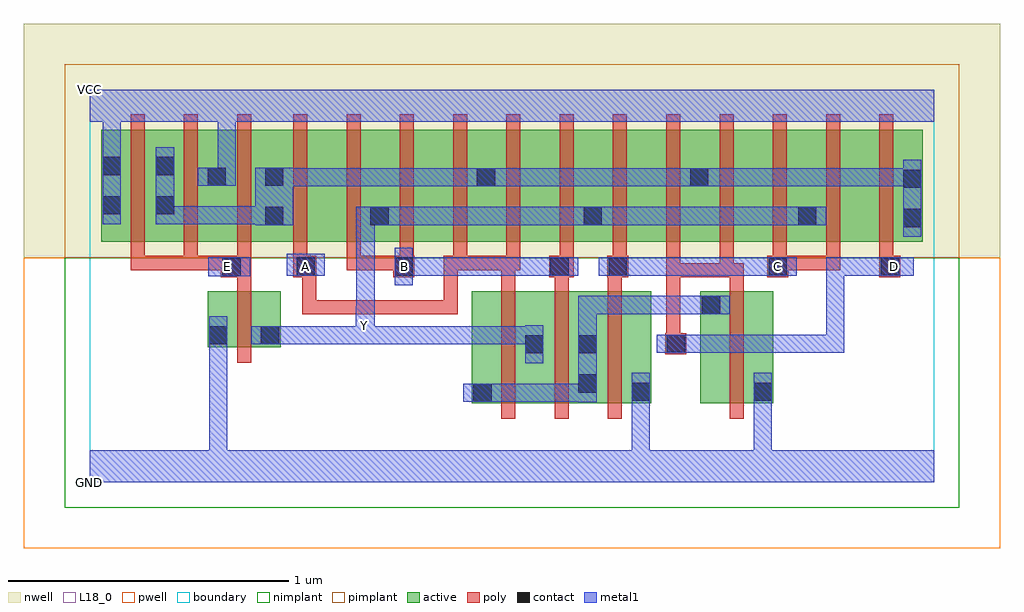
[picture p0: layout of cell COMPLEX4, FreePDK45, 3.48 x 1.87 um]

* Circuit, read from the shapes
.subckt COMPLEX4 A B C D E GND VCC Y
M1 Y E GND VSUBS nfet w=0.2u l=0.05u
M2 Y A n1 VSUBS nfet w=0.4u l=0.05u
M3 n1 B Y VSUBS nfet w=0.4u l=0.05u
M4 GND C n1 VSUBS nfet w=0.4u l=0.05u
M5 GND D n1 VSUBS nfet w=0.4u l=0.05u
M6 n2 E VCC n3 pfet w=0.4u l=0.05u m=3
M7 n4 A n2 n3 pfet w=0.4u l=0.05u
M8 Y B n4 n3 pfet w=0.4u l=0.05u
M9 n5 B Y n3 pfet w=0.4u l=0.05u
M10 n2 A n5 n3 pfet w=0.4u l=0.05u
M11 n6 A n2 n3 pfet w=0.4u l=0.05u
M12 Y B n6 n3 pfet w=0.4u l=0.05u
M13 n7 C Y n3 pfet w=0.4u l=0.05u
M14 n2 D n7 n3 pfet w=0.4u l=0.05u
M15 n8 D n2 n3 pfet w=0.4u l=0.05u
M16 Y C n8 n3 pfet w=0.4u l=0.05u
M17 n9 C Y n3 pfet w=0.4u l=0.05u
M18 n2 D n9 n3 pfet w=0.4u l=0.05u
.ends

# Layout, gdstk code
import gdstk
lib = gdstk.Library(unit=1e-6, precision=1e-09)
def R(c, l, rs):  # rectangles x0, y0, x1, y1
    for r in rs: c.add(gdstk.rectangle(r[:2], r[2:], *l))
def A(c, l, x, y, w, h, nx, ny, dx, dy):  # array of equal rectangles
    R(c, l, [(x+i*dx, y+j*dy, x+i*dx+w, y+j*dy+h) for i in range(nx) for j in range(ny)])
active = (1, 0)
pwell = (2, 0)
nwell = (3, 0)
nimplant = (4, 0)
pimplant = (5, 0)
poly = (9, 0)
contact = (10, 0)
metal1 = (11, 0)
L18_0 = (18, 0)
boundary = (235, 0)

complex4 = lib.new_cell('COMPLEX4')
A(complex4, active, 0.845, 0.857, 0.225, 0.4, 4, 1, 0.38, 0)
A(complex4, active, 0.995, 0.857, 0.23, 0.4, 4, 1, 0.38, 0)
A(complex4, active, 1.375, 0.857, 0.075, 0.343, 3, 1, 0.76, 0)
R(complex4, active, [(1.362,0.282,1.622,0.682), (1.362,0.282,1.437,0.497), (1.547,0.282,1.812,0.682), (1.737,0.282,2.002,0.682), (1.737,0.282,1.812,0.632), (1.927,0.282,2.002,0.492), (2.177,0.282,2.437,0.682), (2.362,0.282,2.437,0.492), (1.547,0.33,1.622,0.53), (2.177,0.33,2.252,0.682), (0.42,0.482,0.495,0.682), (0.42,0.482,0.68,0.682), (0.605,0.482,0.68,0.682), (0.04,0.857,0.305,1.257), (0.04,0.857,0.115,1.255), (0.23,0.857,0.49,1.257), (0.415,0.857,0.695,1.257), (0.415,0.857,0.49,1.255), (0.62,0.857,0.695,1.2), (0.62,0.857,0.845,1.257), (1.755,0.857,1.83,1.07), (2.365,0.857,2.595,1.257), (2.52,0.857,2.745,1.257), (2.52,0.857,2.595,1.07), (2.745,0.857,2.97,1.257), (0.23,0.907,0.305,1.2), (0.995,0.907,1.07,1.07)])
R(complex4, pwell, [(-0.235,-0.235,3.245,0.8)])
R(complex4, nwell, [(-0.235,0.8,3.245,1.635)])
R(complex4, nimplant, [(-0.09,-0.09,3.1,0.8)])
R(complex4, pimplant, [(-0.09,0.8,3.1,1.49)])
A(complex4, poly, 1.467, 0.227, 0.05, 0.51, 3, 1, 0.19, 0)
A(complex4, poly, 0.145, 0.757, 0.05, 0.095, 3, 1, 0.19, 0)
A(complex4, poly, 0.725, 0.757, 0.05, 0.095, 7, 1, 0.19, 0)
A(complex4, poly, 2.435, 0.757, 0.05, 0.095, 3, 1, 0.19, 0)
A(complex4, poly, 0.145, 0.802, 0.05, 0.51, 3, 1, 0.19, 0)
A(complex4, poly, 0.725, 0.802, 0.05, 0.51, 12, 1, 0.19, 0)
R(complex4, poly, [(2.282,0.227,2.332,0.737), (0.525,0.427,0.575,0.737), (2.052,0.457,2.127,0.532), (2.055,0.482,2.105,0.782), (0.757,0.6,0.807,0.65), (0.757,0.6,0.807,0.65), (0.757,0.6,0.807,0.65), (0.757,0.6,0.807,0.65), (0.757,0.6,0.807,0.65), (0.757,0.6,0.965,0.65), (0.757,0.6,0.807,0.782), (0.915,0.6,0.965,0.65), (0.915,0.6,0.965,0.65), (0.915,0.6,0.965,0.65), (0.915,0.6,1.097,0.65), (1.047,0.6,1.097,0.65), (1.047,0.6,1.097,0.65), (1.047,0.6,1.097,0.65), (1.047,0.6,1.312,0.65), (1.262,0.6,1.312,0.65), (1.262,0.6,1.312,0.807), (0.525,0.687,0.575,0.782), (1.467,0.687,1.517,0.807), (1.657,0.687,1.707,0.782), (1.847,0.687,1.897,0.782), (2.282,0.687,2.332,0.782), (0.467,0.732,0.575,0.807), (0.725,0.732,0.807,0.807), (1.082,0.732,1.157,0.807), (1.637,0.732,1.725,0.807), (1.845,0.732,1.92,0.807), (2.055,0.732,2.105,0.782), (2.055,0.732,2.105,0.782), (2.055,0.732,2.105,0.782), (2.055,0.732,2.105,0.852), (2.055,0.732,2.295,0.782), (2.245,0.732,2.295,0.782), (2.245,0.732,2.295,0.782), (2.245,0.732,2.295,0.852), (2.245,0.732,2.332,0.782), (2.415,0.732,2.49,0.807), (2.815,0.732,2.89,0.807), (0.145,0.757,0.195,0.807), (0.145,0.757,0.385,0.807), (0.335,0.757,0.385,0.807), (0.335,0.757,0.385,0.807), (0.335,0.757,0.385,0.807), (0.335,0.757,0.517,0.807), (0.467,0.757,0.517,0.807), (0.467,0.757,0.517,0.807), (0.915,0.757,0.965,0.807), (0.915,0.757,0.965,0.807), (0.915,0.757,0.965,0.807), (0.915,0.757,1.132,0.807), (1.262,0.757,1.312,0.807), (1.262,0.757,1.312,0.807), (1.262,0.757,1.345,0.807), (1.295,0.757,1.345,0.807), (1.295,0.757,1.345,0.807), (1.295,0.757,1.517,0.807), (1.467,0.757,1.535,0.807), (2.44,0.757,2.675,0.807), (2.44,0.757,2.49,0.807), (2.44,0.757,2.49,0.807), (2.625,0.757,2.675,0.807)])
R(complex4, contact, [(1.367,0.287,1.432,0.352), (1.932,0.29,1.997,0.355), (2.367,0.29,2.432,0.355), (1.742,0.32,1.807,0.385), (1.552,0.46,1.617,0.525), (1.742,0.46,1.807,0.525), (2.057,0.462,2.122,0.527), (0.425,0.492,0.49,0.557), (0.61,0.492,0.675,0.557), (2.182,0.6,2.247,0.665), (0.472,0.737,0.537,0.802), (0.737,0.737,0.802,0.802), (1.087,0.737,1.152,0.802), (1.642,0.737,1.707,0.802), (1.85,0.737,1.915,0.802), (2.42,0.737,2.485,0.802), (2.82,0.737,2.885,0.802), (2.9,0.91,2.965,0.975), (0.625,0.917,0.69,0.982), (1,0.917,1.065,0.982), (1.76,0.917,1.825,0.982), (2.525,0.917,2.59,0.982), (0.045,0.955,0.11,1.02), (0.235,0.955,0.3,1.02), (2.9,1.05,2.965,1.115), (1.38,1.055,1.445,1.12), (2.14,1.055,2.205,1.12), (0.42,1.057,0.485,1.122), (0.625,1.057,0.69,1.122), (0.045,1.095,0.11,1.16), (0.235,1.095,0.3,1.16)])
A(complex4, metal1, 1.035, 0.917, 0.202, 0.065, 3, 1, 0.38, 0)
R(complex4, metal1, [(0,0,3.01,0.115), (0.425,0.05,0.49,0.115), (0.425,0.05,0.49,0.115), (0.425,0.05,0.49,0.115), (0.425,0.05,0.49,0.115), (0.425,0.05,0.49,0.522), (1.932,0.05,1.997,0.115), (1.932,0.05,1.997,0.115), (1.932,0.05,1.997,0.115), (1.932,0.05,1.997,0.115), (1.932,0.05,1.997,0.32), (2.367,0.05,2.432,0.115), (2.367,0.05,2.432,0.115), (2.367,0.05,2.432,0.115), (2.367,0.05,2.432,0.115), (2.367,0.05,2.432,0.32), (1.932,0.255,1.997,0.39), (2.367,0.255,2.432,0.39), (1.742,0.285,1.807,0.56), (1.332,0.287,1.467,0.352), (1.402,0.287,1.467,0.352), (1.402,0.287,1.467,0.352), (1.402,0.287,1.617,0.352), (1.552,0.287,1.617,0.352), (1.552,0.287,1.617,0.352), (1.552,0.287,1.617,0.352), (1.552,0.287,1.807,0.352), (1.552,0.425,1.617,0.56), (0.425,0.457,0.49,0.522), (0.425,0.457,0.49,0.522), (0.425,0.457,0.49,0.522), (0.425,0.457,0.49,0.522), (0.425,0.457,0.49,0.592), (2.022,0.462,2.157,0.527), (2.092,0.462,2.157,0.527), (2.092,0.462,2.157,0.527), (2.092,0.462,2.31,0.527), (2.245,0.462,2.31,0.527), (2.245,0.462,2.42,0.527), (2.355,0.462,2.42,0.527), (2.355,0.462,2.42,0.527), (2.355,0.462,2.42,0.527), (2.355,0.462,2.485,0.527), (2.42,0.462,2.485,0.527), (2.42,0.462,2.69,0.527), (2.625,0.462,2.69,0.527), (2.625,0.462,2.69,0.802), (0.575,0.492,0.71,0.557), (0.645,0.492,0.71,0.557), (0.645,0.492,0.71,0.557), (0.645,0.492,0.875,0.557), (0.81,0.492,0.875,0.557), (0.81,0.492,0.875,0.557), (0.81,0.492,0.875,0.557), (0.81,0.492,1.012,0.557), (0.947,0.492,1.012,0.557), (0.947,0.492,1.012,0.557), (0.947,0.492,1.012,0.557), (0.947,0.492,1.012,0.557), (0.947,0.492,1.237,0.557), (0.947,0.492,1.015,0.627), (1.172,0.492,1.237,0.557), (1.172,0.492,1.29,0.557), (1.225,0.492,1.29,0.557), (1.225,0.492,1.48,0.557), (1.415,0.492,1.48,0.557), (1.415,0.492,1.48,0.557), (1.415,0.492,1.48,0.557), (1.415,0.492,1.617,0.557), (1.742,0.495,1.807,0.665), (0.95,0.562,1.015,0.982), (1.742,0.6,1.807,0.665), (1.742,0.6,1.88,0.665), (1.815,0.6,1.88,0.665), (1.815,0.6,1.997,0.665), (1.932,0.6,1.997,0.665), (1.932,0.6,2.172,0.665), (2.107,0.6,2.172,0.665), (2.107,0.6,2.212,0.665), (2.147,0.6,2.282,0.665), (1.087,0.702,1.152,0.837), (0.422,0.735,0.572,0.802), (0.702,0.737,0.837,0.815), (1.087,0.737,1.237,0.802), (1.172,0.737,1.237,0.802), (1.172,0.737,1.33,0.802), (1.265,0.737,1.33,0.802), (1.265,0.737,1.48,0.802), (1.415,0.737,1.48,0.802), (1.415,0.737,1.48,0.802), (1.415,0.737,1.48,0.802), (1.415,0.737,1.617,0.802), (1.552,0.737,1.617,0.802), (1.552,0.737,1.672,0.802), (1.607,0.737,1.742,0.802), (1.815,0.737,1.95,0.802), (1.885,0.737,1.997,0.802), (1.932,0.737,1.997,0.802), (1.932,0.737,2.172,0.802), (2.107,0.737,2.172,0.802), (2.107,0.737,2.172,0.802), (2.107,0.737,2.172,0.802), (2.107,0.737,2.31,0.802), (2.245,0.737,2.31,0.802), (2.245,0.737,2.377,0.802), (2.312,0.737,2.377,0.802), (2.312,0.737,2.447,0.802), (2.382,0.737,2.52,0.802), (2.625,0.737,2.69,0.802), (2.625,0.737,2.692,0.802), (2.627,0.737,2.692,0.802), (2.627,0.737,2.827,0.802), (2.762,0.737,2.827,0.802), (2.762,0.737,2.85,0.802), (2.785,0.737,2.937,0.802), (2.9,0.875,2.965,1.15), (0.59,0.917,0.725,1.122), (0.95,0.917,1.1,0.982), (1.035,0.917,1.1,0.982), (1.035,0.917,1.1,0.982), (1.172,0.917,1.237,0.982), (1.172,0.917,1.29,0.982), (1.225,0.917,1.29,0.982), (1.225,0.917,1.48,0.982), (1.415,0.917,1.48,0.982), (1.415,0.917,1.48,0.982), (1.415,0.917,1.48,0.982), (1.552,0.917,1.617,0.982), (1.552,0.917,1.617,0.982), (1.552,0.917,1.617,0.982), (1.552,0.917,1.79,0.982), (1.725,0.917,1.86,0.982), (1.795,0.917,1.86,0.982), (1.795,0.917,1.86,0.982), (1.932,0.917,1.997,0.982), (1.932,0.917,2.172,0.982), (2.107,0.917,2.172,0.982), (2.107,0.917,2.172,0.982), (2.107,0.917,2.172,0.982), (2.107,0.917,2.31,0.982), (2.245,0.917,2.31,0.982), (2.245,0.917,2.377,0.982), (2.312,0.917,2.377,0.982), (2.312,0.917,2.555,0.982), (2.49,0.917,2.555,0.982), (2.49,0.917,2.555,0.982), (2.49,0.917,2.625,0.982), (0.045,0.92,0.11,1.195), (0.235,0.92,0.3,0.985), (0.235,0.92,0.3,0.985), (0.235,0.92,0.3,1.195), (0.235,0.92,0.437,0.985), (0.372,0.92,0.437,0.985), (0.372,0.92,0.437,0.985), (0.372,0.92,0.437,0.985), (0.372,0.92,0.655,0.985), (0.66,1.055,0.725,1.12), (0.66,1.055,0.725,1.12), (0.66,1.055,0.875,1.12), (0.81,1.055,0.875,1.12), (0.81,1.055,0.875,1.12), (0.81,1.055,0.875,1.12), (0.81,1.055,0.875,1.12), (0.81,1.055,0.875,1.12), (0.81,1.055,1.012,1.12), (0.947,1.055,1.012,1.12), (0.947,1.055,1.012,1.12), (0.947,1.055,1.012,1.12), (0.947,1.055,1.237,1.12), (1.172,1.055,1.237,1.12), (1.172,1.055,1.29,1.12), (1.225,1.055,1.29,1.12), (1.225,1.055,1.41,1.12), (1.345,1.055,1.48,1.12), (1.415,1.055,1.48,1.12), (1.415,1.055,1.48,1.12), (1.415,1.055,1.617,1.12), (1.552,1.055,1.617,1.12), (1.552,1.055,1.617,1.12), (1.552,1.055,1.617,1.12), (1.552,1.055,1.755,1.12), (1.69,1.055,1.755,1.12), (1.69,1.055,1.755,1.12), (1.69,1.055,1.755,1.12), (1.69,1.055,1.997,1.12), (1.932,1.055,1.997,1.12), (1.932,1.055,2.17,1.12), (2.105,1.055,2.17,1.12), (2.105,1.055,2.17,1.12), (2.105,1.055,2.24,1.12), (2.175,1.055,2.31,1.12), (2.245,1.055,2.31,1.12), (2.245,1.055,2.377,1.12), (2.312,1.055,2.377,1.12), (2.312,1.055,2.447,1.12), (2.382,1.055,2.447,1.12), (2.382,1.055,2.557,1.12), (2.492,1.055,2.557,1.12), (2.492,1.055,2.712,1.12), (2.647,1.055,2.712,1.12), (2.647,1.055,2.827,1.12), (2.762,1.055,2.827,1.12), (2.762,1.055,2.827,1.12), (2.762,1.055,2.827,1.12), (2.762,1.055,2.965,1.12), (2.9,1.055,2.965,1.12), (2.9,1.055,2.965,1.12), (0.385,1.057,0.52,1.122), (0.455,1.057,0.52,1.35), (0.045,1.13,0.11,1.35), (0,1.285,3.01,1.4)])
A(complex4, L18_0, 1.035, 0.917, 0.202, 0.065, 3, 1, 0.38, 0)
R(complex4, L18_0, [(0,0,3.01,0.115), (0.425,0.05,0.49,0.115), (0.425,0.05,0.49,0.115), (0.425,0.05,0.49,0.115), (0.425,0.05,0.49,0.115), (0.425,0.05,0.49,0.522), (1.932,0.05,1.997,0.115), (1.932,0.05,1.997,0.115), (1.932,0.05,1.997,0.115), (1.932,0.05,1.997,0.115), (1.932,0.05,1.997,0.32), (2.367,0.05,2.432,0.115), (2.367,0.05,2.432,0.115), (2.367,0.05,2.432,0.115), (2.367,0.05,2.432,0.115), (2.367,0.05,2.432,0.32), (1.932,0.255,1.997,0.39), (2.367,0.255,2.432,0.39), (1.552,0.425,1.617,0.56), (0.425,0.457,0.49,0.522), (0.425,0.457,0.49,0.522), (0.425,0.457,0.49,0.522), (0.425,0.457,0.49,0.522), (0.425,0.457,0.49,0.592), (2.022,0.462,2.157,0.527), (2.092,0.462,2.157,0.527), (2.092,0.462,2.157,0.527), (2.092,0.462,2.31,0.527), (2.245,0.462,2.31,0.527), (2.245,0.462,2.42,0.527), (2.355,0.462,2.42,0.527), (2.355,0.462,2.42,0.527), (2.355,0.462,2.42,0.527), (2.355,0.462,2.485,0.527), (2.42,0.462,2.485,0.527), (2.42,0.462,2.69,0.527), (2.625,0.462,2.69,0.527), (2.625,0.462,2.69,0.802), (0.575,0.492,0.71,0.557), (0.645,0.492,0.71,0.557), (0.645,0.492,0.71,0.557), (0.645,0.492,0.875,0.557), (0.81,0.492,0.875,0.557), (0.81,0.492,0.875,0.557), (0.81,0.492,0.875,0.557), (0.81,0.492,1.012,0.557), (0.947,0.492,1.012,0.557), (0.947,0.492,1.012,0.557), (0.947,0.492,1.012,0.557), (0.947,0.492,1.012,0.557), (0.947,0.492,1.015,0.627), (0.947,0.492,1.237,0.557), (1.172,0.492,1.237,0.557), (1.172,0.492,1.29,0.557), (1.225,0.492,1.29,0.557), (1.225,0.492,1.48,0.557), (1.415,0.492,1.48,0.557), (1.415,0.492,1.48,0.557), (1.415,0.492,1.48,0.557), (1.415,0.492,1.617,0.557), (0.947,0.527,1.012,0.592), (0.95,0.562,1.015,0.982), (1.087,0.702,1.152,0.837), (0.422,0.735,0.572,0.802), (0.457,0.737,0.522,0.802), (0.702,0.737,0.837,0.815), (0.737,0.737,0.802,0.802), (1.087,0.737,1.152,0.802), (1.087,0.737,1.237,0.802), (1.172,0.737,1.237,0.802), (1.172,0.737,1.33,0.802), (1.265,0.737,1.33,0.802), (1.265,0.737,1.48,0.802), (1.415,0.737,1.48,0.802), (1.415,0.737,1.48,0.802), (1.415,0.737,1.48,0.802), (1.415,0.737,1.617,0.802), (1.552,0.737,1.617,0.802), (1.552,0.737,1.672,0.802), (1.607,0.737,1.742,0.802), (1.815,0.737,1.95,0.802), (1.885,0.737,1.997,0.802), (1.932,0.737,1.997,0.802), (1.932,0.737,2.172,0.802), (2.107,0.737,2.172,0.802), (2.107,0.737,2.172,0.802), (2.107,0.737,2.172,0.802), (2.107,0.737,2.31,0.802), (2.245,0.737,2.31,0.802), (2.245,0.737,2.377,0.802), (2.312,0.737,2.377,0.802), (2.312,0.737,2.447,0.802), (2.382,0.737,2.52,0.802), (2.417,0.737,2.482,0.802), (2.625,0.737,2.69,0.802), (2.625,0.737,2.692,0.802), (2.627,0.737,2.692,0.802), (2.627,0.737,2.827,0.802), (2.762,0.737,2.827,0.802), (2.762,0.737,2.85,0.802), (2.785,0.737,2.937,0.802), (2.837,0.737,2.902,0.802), (0.95,0.917,1.1,0.982), (1.035,0.917,1.1,0.982), (1.035,0.917,1.1,0.982), (1.172,0.917,1.237,0.982), (1.172,0.917,1.29,0.982), (1.225,0.917,1.29,0.982), (1.225,0.917,1.48,0.982), (1.415,0.917,1.48,0.982), (1.415,0.917,1.48,0.982), (1.415,0.917,1.48,0.982), (1.552,0.917,1.617,0.982), (1.552,0.917,1.617,0.982), (1.552,0.917,1.617,0.982), (1.552,0.917,1.79,0.982), (1.725,0.917,1.86,0.982), (1.795,0.917,1.86,0.982), (1.795,0.917,1.86,0.982), (1.932,0.917,1.997,0.982), (1.932,0.917,2.172,0.982), (2.107,0.917,2.172,0.982), (2.107,0.917,2.172,0.982), (2.107,0.917,2.172,0.982), (2.107,0.917,2.31,0.982), (2.245,0.917,2.31,0.982), (2.245,0.917,2.377,0.982), (2.312,0.917,2.377,0.982), (2.312,0.917,2.555,0.982), (2.49,0.917,2.555,0.982), (2.49,0.917,2.555,0.982), (2.49,0.917,2.625,0.982), (0.045,0.92,0.11,1.195), (0.385,1.057,0.52,1.122), (0.455,1.057,0.52,1.35), (0.045,1.13,0.11,1.35), (0,1.285,3.01,1.4)])
R(complex4, boundary, [(0,0,3.01,1.4)])
complex4.add(gdstk.Label('A', (0.77,0.77), layer=11, texttype=0))
complex4.add(gdstk.Label('B', (1.12,0.77), layer=11, texttype=0))
complex4.add(gdstk.Label('C', (2.45,0.77), layer=11, texttype=0))
complex4.add(gdstk.Label('D', (2.87,0.77), layer=11, texttype=0))
complex4.add(gdstk.Label('E', (0.49,0.77), layer=11, texttype=0))
complex4.add(gdstk.Label('Y', (0.98,0.56), layer=11, texttype=0))
complex4.add(gdstk.Label('VCC', (0,1.4), layer=11, texttype=0))
complex4.add(gdstk.Label('GND', (0,0), layer=11, texttype=0))

lib.write_gds('COMPLEX4.gds')
